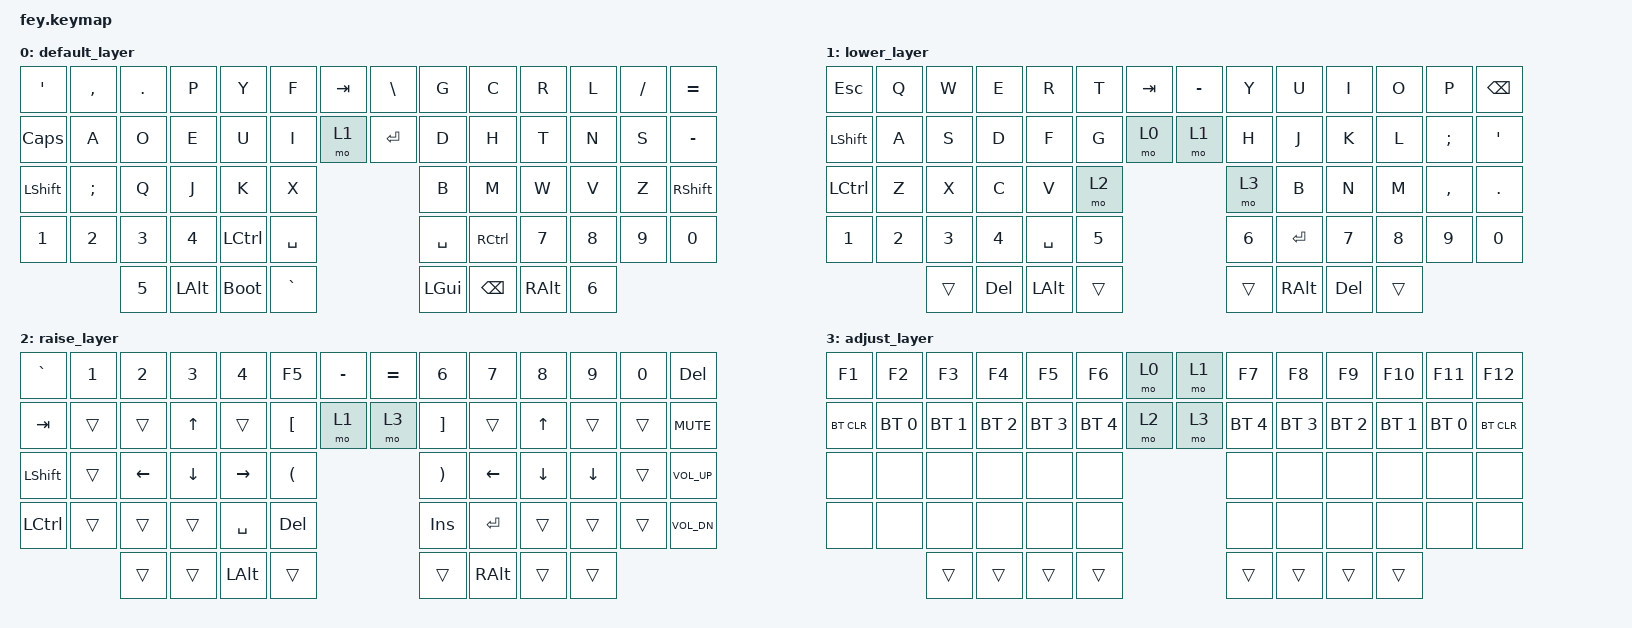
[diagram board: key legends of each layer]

/*
 * Copyright (c) 2020 The ZMK Contributors
 *
 * SPDX-License-Identifier: MIT
 */

#include <behaviors.dtsi>
#include <dt-bindings/zmk/keys.h>
#include <dt-bindings/zmk/bt.h>

/ {
    keymap {
        compatible = "zmk,keymap";


        default_layer {
            bindings = <
  &kp SQT     &kp COMMA  &kp DOT   &kp P      &kp Y      &kp F    &kp TAB  &kp BSLH       &kp G          &kp C          &kp R     &kp L     &kp FSLH  &kp EQUAL
  &kp CAPS    &kp A      &kp O     &kp E      &kp U      &kp I    &mo 1    &kp ENTER      &kp D          &kp H          &kp T     &kp N     &kp S     &kp MINUS
  &kp LSHFT   &kp SEMI   &kp Q     &kp J      &kp K      &kp X                            &kp B          &kp M          &kp W     &kp V     &kp Z     &kp RSHFT
   &kp N1     &kp N2     &kp N3    &kp N4     &kp LCTRL  &kp SPACE                        &kp SPACE      &kp RCTRL      &kp N7    &kp N8    &kp N9    &kp N0
                         &kp N5    &kp LALT   &bootloader  &kp GRAVE                        &kp LGUI       &kp BACKSPACE  &kp RALT  &kp N6
            >;
        };
        
        lower_layer {
            bindings = <
  &kp ESC     &kp Q   &kp W    &kp E      &kp R      &kp T    &kp TAB    &kp MINUS   &kp Y      &kp U       &kp I   &kp O      &kp P         &kp BACKSPACE
  &kp LSHFT   &kp A   &kp S    &kp D      &kp F      &kp G    &mo 0      &mo 1       &kp H      &kp J       &kp K   &kp L      &kp SEMI      &kp SQT
  &kp LCTRL   &kp Z   &kp X    &kp C      &kp V      &mo 2                           &mo 3      &kp B       &kp N   &kp M      &kp COMMA     &kp DOT
  &kp N1      &kp N2  &kp N3   &kp N4     &kp SPACE  &kp N5                          &kp N6     &kp ENTER   &kp N7  &kp N8     &kp N9        &kp N0
                      &trans   &kp DEL    &kp LALT   &trans                          &trans     &kp RALT    &kp DEL &trans
            >;
        };

        raise_layer {
            bindings = <
   &kp GRAVE  &kp N1    &kp N2    &kp N3     &kp N4     &kp F5     &kp MINUS    &kp EQUAL &kp N6     &kp N7      &kp N8    &kp N9    &kp N0       &kp DEL
   &kp TAB    &trans    &trans    &kp UP     &trans     &kp LBKT   &mo 1        &mo 3     &kp RBKT   &trans      &kp UP    &trans    &trans       &kp K_MUTE
   &kp LSHFT  &trans    &kp LEFT  &kp DOWN   &kp RIGHT  &kp LPAR                          &kp RPAR   &kp LEFT    &kp DOWN  &kp DOWN  &trans       &kp K_VOL_UP
   &kp LCTRL  &trans    &trans    &trans     &kp SPACE  &kp DEL                           &kp INS    &kp ENTER   &trans    &trans    &trans       &kp K_VOL_DN
                        &trans    &trans     &kp LALT   &trans                            &trans     &kp RALT    &trans    &trans
            >;
        };

        adjust_layer {
            bindings = <
    &kp F1        &kp F2        &kp F3        &kp F4        &kp F5        &kp F6        &mo 0    &mo 1    &kp F7        &kp F8        &kp F9        &kp F10       &kp F11       &kp F12
    &bt BT_CLR    &bt BT_SEL 0  &bt BT_SEL 1  &bt BT_SEL 2  &bt BT_SEL 3  &bt BT_SEL 4  &mo 2    &mo 3    &bt BT_SEL 4  &bt BT_SEL 3  &bt BT_SEL 2  &bt BT_SEL 1  &bt BT_SEL 0  &bt BT_CLR
    &none         &none         &none         &none         &none         &none                           &none         &none         &none         &none         &none         &none
    &none         &none         &none         &none         &none         &none                           &none         &none         &none         &none         &none         &none
                                &trans        &trans        &trans        &trans                          &trans        &trans        &trans        &trans
            >;
        };

    };
};
